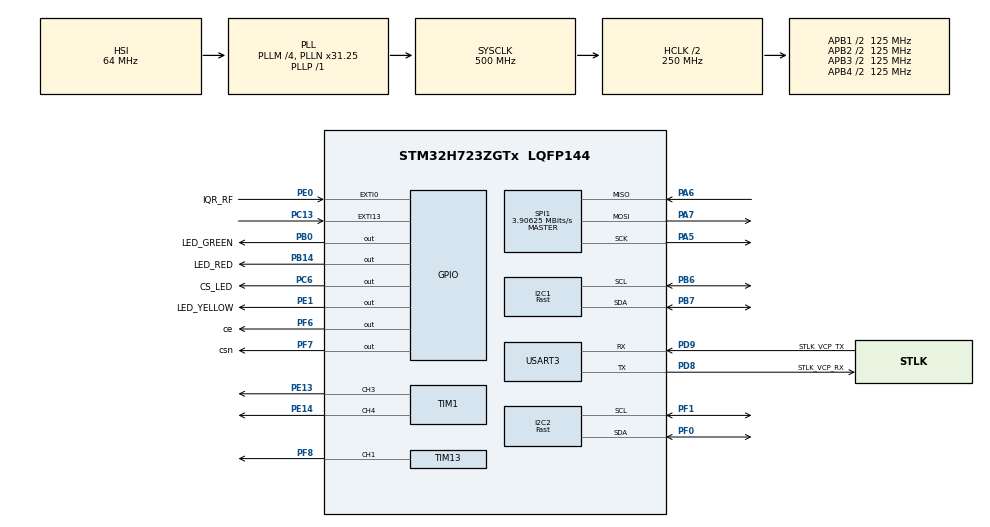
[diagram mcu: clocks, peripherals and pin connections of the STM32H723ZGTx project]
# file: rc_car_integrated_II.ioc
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CORTEX_M7.default_mode_Activation=1
Dma.Request0=USART3_RX
Dma.USART3_RX.0.Direction=DMA_PERIPH_TO_MEMORY
Dma.USART3_RX.0.EventEnable=DISABLE
Dma.USART3_RX.0.FIFOMode=DMA_FIFOMODE_DISABLE
Dma.USART3_RX.0.Instance=DMA1_Stream0
Dma.USART3_RX.0.MemDataAlignment=DMA_MDATAALIGN_BYTE
Dma.USART3_RX.0.MemInc=DMA_MINC_ENABLE
Dma.USART3_RX.0.Mode=DMA_NORMAL
Dma.USART3_RX.0.PeriphDataAlignment=DMA_PDATAALIGN_BYTE
Dma.USART3_RX.0.PeriphInc=DMA_PINC_DISABLE
Dma.USART3_RX.0.Polarity=HAL_DMAMUX_REQ_GEN_RISING
Dma.USART3_RX.0.Priority=DMA_PRIORITY_LOW
Dma.USART3_RX.0.RequestNumber=1
Dma.USART3_RX.0.SignalID=NONE
Dma.USART3_RX.0.SyncEnable=DISABLE
Dma.USART3_RX.0.SyncPolarity=HAL_DMAMUX_SYNC_NO_EVENT
Dma.USART3_RX.0.SyncRequestNumber=1
Dma.USART3_RX.0.SyncSignalID=NONE
I2C1.I2C_Speed_Mode=I2C_Fast
I2C1.Timing=0x00C042E4
I2C2.I2C_Speed_Mode=I2C_Fast
I2C2.Timing=0x00C042E4
Mcu.Family=STM32H7
Mcu.Name=STM32H723ZGTx
Mcu.Package=LQFP144
NVIC.DMA1_Stream0_IRQn=true\:0\:0\:false\:false\:true\:false\:true\:true
NVIC.PriorityGroup=NVIC_PRIORITYGROUP_4
NVIC.TIM3_IRQn=true\:0\:0\:true\:false\:true\:true\:true\:true
NVIC.USART3_IRQn=true\:0\:0\:false\:false\:true\:true\:true\:true
PA13(JTMS/SWDIO).GPIO_Label=SWDIO
PA13(JTMS/SWDIO).Signal=DEBUG_JTMS-SWDIO
PA14(JTCK/SWCLK).GPIO_Label=SWCLK
PA14(JTCK/SWCLK).Signal=DEBUG_JTCK-SWCLK
PA5.Mode=Full_Duplex_Master
PA5.Signal=SPI1_SCK
PA6.Mode=Full_Duplex_Master
PA6.Signal=SPI1_MISO
PA7.Mode=Full_Duplex_Master
PA7.Signal=SPI1_MOSI
PB0.GPIO_Label=LED_GREEN
PB0.Signal=GPIO_Output
PB14.GPIO_Label=LED_RED
PB14.Signal=GPIO_Output
PB6.Mode=I2C
PB6.Signal=I2C1_SCL
PB7.Mode=I2C
PB7.Signal=I2C1_SDA
PC13.Signal=GPXTI13
PC14-OSC32_IN.Signal=RCC_OSC32_IN
PC15-OSC32_OUT.Signal=RCC_OSC32_OUT
PC6.GPIO_Label=CS_LED
PC6.Signal=GPIO_Output
PD8.GPIO_Label=STLK_VCP_RX
PD8.Mode=Asynchronous
PD8.Signal=USART3_TX
PD9.GPIO_Label=STLK_VCP_TX
PD9.Mode=Asynchronous
PD9.Signal=USART3_RX
PE0.GPIO_Label=IQR_RF
PE0.Signal=GPXTI0
PE1.GPIO_Label=LED_YELLOW
PE1.Signal=GPIO_Output
PE13.Signal=S_TIM1_CH3
PE14.Signal=S_TIM1_CH4
PF0.Mode=I2C
PF0.Signal=I2C2_SDA
PF1.Mode=I2C
PF1.Signal=I2C2_SCL
PF6.GPIO_Label=ce
PF6.PinState=GPIO_PIN_SET
PF6.Signal=GPIO_Output
PF7.GPIO_Label=csn
PF7.PinState=GPIO_PIN_SET
PF7.Signal=GPIO_Output
PF8.Signal=S_TIM13_CH1
ProjectManager.HeapSize=0x200
ProjectManager.StackSize=0x400
ProjectManager.TargetToolchain=STM32CubeIDE
RCC.ADCFreq_Value=608000000
RCC.APB1Freq_Value=125000000
RCC.APB2Freq_Value=125000000
RCC.APB3Freq_Value=125000000
RCC.APB4Freq_Value=125000000
RCC.CortexFreq_Value=500000000
RCC.D1PPRE=RCC_APB3_DIV2
RCC.D2PPRE1=RCC_APB1_DIV2
RCC.D2PPRE2=RCC_APB2_DIV2
RCC.D3PPRE=RCC_APB4_DIV2
RCC.DIVM1=4
RCC.DIVM2=1
RCC.DIVN1=31
RCC.DIVN2=19
RCC.DIVP1=1
RCC.DIVQ1=4
RCC.HCLKFreq_Value=250000000
RCC.HPRE=RCC_HCLK_DIV2
RCC.HSE_VALUE=8000000
RCC.PLLFRACN=2048
RCC.SYSCLKFreq_VALUE=500000000
RCC.SYSCLKSource=RCC_SYSCLKSOURCE_PLLCLK
RCC.USBCLockSelection=RCC_USBCLKSOURCE_HSI48
RCC.USBFreq_Value=48000000
SH.S_TIM13_CH1.0=TIM13_CH1,PWM Generation1 CH1
SH.S_TIM1_CH3.0=TIM1_CH3,PWM Generation3 CH3
SH.S_TIM1_CH4.0=TIM1_CH4,PWM Generation4 CH4
SPI1.BaudRatePrescaler=SPI_BAUDRATEPRESCALER_32
SPI1.CalculateBaudRate=3.90625 MBits/s
SPI1.DataSize=SPI_DATASIZE_8BIT
SPI1.Direction=SPI_DIRECTION_2LINES
SPI1.Mode=SPI_MODE_MASTER
SPI1.VirtualType=VM_MASTER
TIM1.Channel-PWM\ Generation3\ CH3=TIM_CHANNEL_3
TIM1.Channel-PWM\ Generation4\ CH4=TIM_CHANNEL_4
TIM13.Channel=TIM_CHANNEL_1
TIM13.Period=62499-1
TIM13.Prescaler=5000-1
TIM24.Prescaler=25-1
TIM3.Prescaler=250-1
USART3.VirtualMode-Asynchronous=VM_ASYNC
VP_MEMORYMAP_VS_MEMORYMAP.Mode=CurAppReg
VP_TIM13_VS_ClockSourceINT.Mode=Enable_Timer
VP_TIM1_VS_ClockSourceINT.Mode=Internal
VP_TIM24_VS_ClockSourceINT.Mode=Internal
VP_TIM3_VS_ClockSourceINT.Mode=Internal
board=NUCLEO-H723ZG

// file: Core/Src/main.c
/* USER CODE BEGIN Header */
/**
  ******************************************************************************
  * @file           : main.c
  * @brief          : Main program body
  ******************************************************************************
  * @attention
  *
  * Copyright (c) 2025 STMicroelectronics.
  * All rights reserved.
  *
  * This software is licensed under terms that can be found in the LICENSE file
  * in the root directory of this software component.
  * If no LICENSE file comes with this software, it is provided AS-IS.
  *
  ******************************************************************************
  */
/* USER CODE END Header */
#include "main.h"

/* USER CODE BEGIN Includes */
#include <stdint.h>
#include <stdio.h>
#include <string.h>
#include <ctype.h>
#include <stdlib.h>
#include "GarminLidarLiteV3.h"
#include "LIS3DH.h"
#include "stm32h7xx_hal.h"
#include "delay.h" // Include delay.h for delay functions
#include "commandReader.h"
#include "NRF24_conf.h"
#include "NRF24_reg_addresses.h"
#include "NRF24.h"
#include "ledAdapter.h"

/* USER CODE END Includes */

/* USER CODE BEGIN PD */
#define UART_DMA_RX_SIZE 32
#define PLD_S 32

/* USER CODE END PD */

I2C_HandleTypeDef hi2c1;
I2C_HandleTypeDef hi2c2;

SPI_HandleTypeDef hspi1;

TIM_HandleTypeDef htim1;
TIM_HandleTypeDef htim3;
TIM_HandleTypeDef htim13;
TIM_HandleTypeDef htim24;

UART_HandleTypeDef huart3;
DMA_HandleTypeDef hdma_usart3_rx;

/* USER CODE BEGIN PV */
///////////////////// State Machines  ////////////////////////////////////////////////////////
typedef enum
{
	WAIT_STATE,
	FORWARD_STATE,
	BACKWARD_STATE,
	BRAKE_STATE,
	COAST_STATE,
	STEER_STATE,
	GET_SENSOR_DATA_STATE,
	SET_PID_STATE,
	STATE_MICRO_DELAY_TEST,
	STATE_DATA_ACQUISITION,
	CHANGE_RX_STATE,
	CHANGE_TX_STATE,
	RX_STATE,
	TX_STATE,
	STATE_FORCE_STOP,
	STATE_ACCEL_CALIBRATION

} StateType;
StateType currentState = WAIT_STATE;
StateType nextState = WAIT_STATE;
StateType currentCommState = RX_STATE; // This state machine is to determine whether the system is in receiving mode or transmitting mode, which will determine the behavior of the main loop and the actions to perform when receiving commands or getting sensor data.

///////////////////// Structures To use as Global Variables   ////////////////////////////////////////////////////////

struct DataToTransmit
{
   // Disregarding the cmd, all the variables byte size should add up to 18-20bytes
	uint8_t cmd[PLD_S]; // Will grab all the structure variables compress to string and transmit through NRF24L01
	int32_t a_x; // Store the acceleration in x-axis
    int32_t a_y; // Store the acceleration in y-axis
    int32_t a_z; // Store the acceleration in z-axis
    int32_t ax_cal_avg; // The average acceleration to offset the bias in x-axis
    int32_t ay_cal_avg; // The average acceleration to offset the bias in y-axis
    int32_t az_cal_avg; // The average acceleration to offset the bias in z-axis
    uint16_t distance_cm; // Store the distance measurement in centimeters
    char stationaryFlag;  // This is Flag to indicate back to the transmitter whether there is a stationary object when the car is accelerating.
    uint32_t timestamp; // in milliseconds
    uint8_t transmitFlag; // This flag is used to indicate whether the data is ready to be transmitted, which will be set after getting the sensor data and will trigger the transmission in the main loop when in TX_STATE.

};

struct DataToReceive
{
	// Disregarding the cmd, all the variables byte size should add up to 14-16bytes
	uint8_t cmd[PLD_S]; // The command is received as a string and will be parsed to determine the action and parameters to store
	// under the DataToReceive structure.
	int32_t pwm_value; // Temporarily will use pwm value, for testing the car until the speed can be determined after figure out the actual speed of the RC car.
	int16_t setSpeed; // Will grab the speed value received from the command and store it here, which will be used to set the PWM duty cycle for motor control.
	int16_t Pset; // PID proportional gain
	int16_t Iset; // PID integral gain
	int16_t Dset; // PID derivative gain
	int32_t sampleTime; // Sampling time for the PID controller, which will determine how often the control loop runs and updates the motor commands based on the sensor feedback.
	int32_t pwm_steer;
};

struct TimeTracking
{
	uint32_t seconds_counter; // This will keep track of the total elapsed time in seconds since the system started, which can be useful for timestamping data and events.
	uint32_t set_timer_period; // This variable will store the timer period in ticks, which is used to configure the timer interrupt frequency for tasks like sensor reading and control loop execution.
	uint32_t stamped_time; // This variable will store the timestamp of the last sensor reading or control loop execution, which can be used to calculate elapsed time and ensure consistent timing for the control algorithm.
	uint32_t milliAdder; // This variable will add a certain number of milliseconds to the stamped_time to determine when the next sensor reading or control loop execution should occur, allowing for precise timing control in the system.
	uint32_t timeAccumulator; // This variable will accumulate the elapsed time in milliseconds.
};

struct DataTxBuffer
{
    uint8_t data[1000][32];
};

///////////////////// Variable Declarations  ////////////////////////////////////////////////////////

////// UART Declarations  //////////////////////////////////////
/// will not be used unless there is some troubleshooting needed.
// For UART message processing
char uart_current_msg[UART_DMA_RX_SIZE];
// UART DMA Buffer
uint8_t UART3_rxBuffer[UART_DMA_RX_SIZE]; // DMA buffer

////// Time Tracking Declarations  //////////////////////////////////////
struct TimeTracking Tset =
{
    .seconds_counter = 0,
    .set_timer_period = 12500,
	.stamped_time = 0,
	.milliAdder = 0,
	.timeAccumulator = 0
};
// Rate of ticks is 1MHz with prescalar of 100 (assuming 100MHz clock)
// 1ticks = 1us

//////  LIDAR Declarations  //////////////////////////////////////
// Sensitivity level
volatile uint8_t sensitivity_level = 100;
volatile uint8_t acq_cmd_param = TAKE_DISTANCE_MEASUREMENT_WITH_BIAS_CORRECTION;

//////  Commands Declarations  //////////////////////////////////////
// In the main.h file I made the Transmit structure extern so I can access it in the other files, and here in the main.c file I define it.
DataToTransmit Transmit = {0}; // Not struct DataToTransmit  // This initializes all members to 0.
struct DataToReceive Receive = {0};    // This initializes all members to 0
struct DataTxBuffer TxData = {0}; // This initializes all members to 0

//////  NRF24L01 Declarations  //////////////////////////////////////
uint8_t tx_addr[5] = {0x45, 0x55, 0x67, 0x10, 0x21};

volatile int pwm_value = 0;
volatile uint8_t cal_sample_flag = 0;

/* USER CODE END PV */

void SystemClock_Config(void);
//static void MPU_Config(void);
static void MX_GPIO_Init(void);
static void MX_DMA_Init(void);
static void MX_SPI1_Init(void);
static void MX_TIM1_Init(void);
static void MX_TIM24_Init(void);
static void MX_USART3_UART_Init(void);
static void MX_I2C1_Init(void);
static void MX_I2C2_Init(void);
static void MX_TIM3_Init(void);
static void MX_TIM13_Init(void);
/* USER CODE BEGIN PFP */
void nrf24_setup(void);

static void formatAccelPrint(uint32_t timestamp, int32_t ax, int32_t ay, int32_t az);
static void formatAccelPacket(uint32_t timestamp, int32_t ax, int32_t ay, int32_t az);

static void formatSensorPrint(uint32_t timestamp, uint16_t dist, int32_t ax, int32_t ay, int32_t az);
static void formatSensorPacket(uint32_t timestamp, uint16_t dist, int32_t ax, int32_t ay, int32_t az);

/* USER CODE END PFP */

int main(void)
{

  /* MPU Configuration--------------------------------------------------------*/
//  MPU_Config();

  /* MCU Configuration--------------------------------------------------------*/

  /* Reset of all peripherals, Initializes the Flash interface and the Systick. */
  HAL_Init();

  /* Configure the system clock */
  SystemClock_Config();

  /* Initialize all configured peripherals */
  MX_GPIO_Init();
  MX_DMA_Init();
  MX_SPI1_Init();
  MX_TIM1_Init();
  MX_TIM24_Init();
  MX_USART3_UART_Init();
  MX_I2C1_Init();
  MX_I2C2_Init();
  MX_TIM3_Init();
  MX_TIM13_Init();
  /* USER CODE BEGIN 2 */
  lis3dh_init();
  GarLiteV3_Init();

  HAL_TIM_Base_Start(&htim24);  // ← START TIM24 for delay_us()

  // Initialized NRF24L01
  nrf24_setup();
  nrf24_listen();

  // Start TIM3 with interrupt to toggle TX/RX mode of the NRF24L01 every 10ms
  HAL_TIM_Base_Start_IT(&htim3);
  // Use absolute compare (tick) values directly instead of percentage
  // These are timer ticks (must be <= htim1.Init.Period)
  uint32_t pulse_ch3 = 20000U; // channel 1
  uint32_t pulse_ch4 = 20000U; // channel

  // The tick set up to turn the servo motor.
  // 1ms= 1000us = 1000 ticks, 1.5ms = 75 ticks, 2ms = 2000 ticks.
  uint32_t pulseServoMotor = 75U; // This is for the servo motor control, which will be used to control the steering of the RC car. The value can be adjusted based on the desired steering angle and the characteristics of the servo motor being used. For example, a value of 12500 ticks might correspond to a 90-degree turn, while values lower or higher than that would correspond to turns in the opposite direction or sharper turns, respectively. The exact mapping between pulse width and steering angle would need to be determined experimentally based on the specific servo motor and its response characteristics.
  Receive.pwm_steer = pulseServoMotor; // Initialize the pwm_steer variable in the Receive structure with 50% duty cycle.

  char ReceiveCmd[PLD_S];
  uint8_t stopState = 0; // This variable is used to determine whether the car should stop after executing a command, which will be set based on the received command and will influence the behavior of the main loop in terms of whether to return to WAIT_STATE or stay in the current state after executing a motor action.
  int k = 0; // increment counter for data acquisition

  // Set up time Adder for timestamping and timing control
  Tset.milliAdder = Tset.set_timer_period * 2 / 1000;

  /* Sanity checks: ensure values do not exceed ARR (which is htim1.Init.Period) */
  if (pulse_ch3 > (uint32_t)htim1.Init.Period)
  {
    Error_Handler();
  }
  if (pulse_ch4 > (uint32_t)htim1.Init.Period)
  {
    Error_Handler();
  }
  if (pulseServoMotor > (uint32_t)htim13.Init.Period)
  {
    Error_Handler();
  }

  /* Start PWM channels */
  if (HAL_TIM_PWM_Start(&htim1, TIM_CHANNEL_3) != HAL_OK)
  {
    Error_Handler();
  }
  if (HAL_TIM_PWM_Start(&htim1, TIM_CHANNEL_4) != HAL_OK)
  {
    Error_Handler();
  }
  if (HAL_TIM_PWM_Start(&htim13, TIM_CHANNEL_1) != HAL_OK)
  {
    Error_Handler();
  }

  // Initially set the PWM for the steering to the center by place 50 in it
  // This is for steering control using the servo motor.

  __HAL_TIM_SET_COMPARE(&htim13, TIM_CHANNEL_1, Receive.pwm_steer);

  /* USER CODE END 2 */

  /* Infinite loop */
  while (1)
  {

    /* USER CODE BEGIN 3 */

      switch (currentState)
      {
          case WAIT_STATE:
              // Idle — do nothing until timer ISR triggers a comm state change
              break;

          // ============ COMM STATE TRANSITIONS ============

          case CHANGE_RX_STATE:
              // LED indicators: YELLOW on = RX mode
              HAL_GPIO_WritePin(LED_YELLOW_GPIO_Port, LED_YELLOW_Pin, GPIO_PIN_SET);
              HAL_GPIO_WritePin(LED_GREEN_GPIO_Port, LED_GREEN_Pin, GPIO_PIN_RESET);
              nrf24_listen();
              currentCommState = TX_STATE;
              currentState = RX_STATE;
              break;

          case RX_STATE:
              // Stay here polling for data until the timer ISR sets CHANGE_TX_STATE
              if (nrf24_data_available())
              {
                  stopState = 0; // Clear the stopState flag when new data is received
            	  nrf24_receive(Receive.cmd, sizeof(Receive.cmd));
                  nrf24_clear_rx_dr();
                  strncpy(ReceiveCmd, (char *)Receive.cmd, PLD_S - 1);
                  ReceiveCmd[PLD_S - 1] = '\0';

                  char cmd_str[32] = {0};
                  char pwm_str[8] = {0};
                  char steer_pwm_str[8] = {0};
                  uint8_t comma_index = 0;
                  parse_uart_command(ReceiveCmd, cmd_str, &comma_index);

                  if (strcmp(cmd_str, "F") == 0)
                  {
                      uint8_t index = comma_index;
                      parse_uart_value(ReceiveCmd, pwm_str, &index);
                      Receive.pwm_value = (uint16_t)atoi(pwm_str);
                      nextState = FORWARD_STATE;
                  }
                  else if (strcmp(cmd_str, "R") == 0)
                  {
                      uint8_t index = comma_index;
                      parse_uart_value(ReceiveCmd, pwm_str, &index);
                      Receive.pwm_value = (uint16_t)atoi(pwm_str);
                      nextState = BACKWARD_STATE;
                  }
                  else if (strcmp(cmd_str, "B") == 0)
                  {
                      Receive.pwm_value = 25000;
                      nextState = BRAKE_STATE;
                  }
                  else if (strcmp(cmd_str, "C") == 0)
                  {
                      nextState = COAST_STATE;
                  }
                  else if (strcmp(cmd_str, "S") == 0)
				  {
                	  // This is to steer the servo motor. I tested the servo motor that was prebuilt on the RC car.
                	  // The frequency for PWM control is 50Hz and the steering wheel is at the center when duty cycle is 50%.
                      uint8_t index = comma_index;
                      parse_uart_value(ReceiveCmd, steer_pwm_str, &index);
                      Receive.pwm_steer = (uint16_t)atoi(steer_pwm_str);
                      nextState = STEER_STATE;

				  }
                  else if (strcmp(cmd_str, "PID") == 0)
                  {
                      uint8_t index = comma_index;
                      char P_str[8] = {0}, I_str[8] = {0}, D_str[8] = {0};
                      parse_uart_value(ReceiveCmd, P_str, &index);
                      Receive.Pset = (uint16_t)atoi(P_str);
                      parse_uart_value(ReceiveCmd, I_str, &index);
                      Receive.Iset = (uint16_t)atoi(I_str);
                      parse_uart_value(ReceiveCmd, D_str, &index);
                      Receive.Dset = (uint16_t)atoi(D_str);
                      nextState = SET_PID_STATE;
                  }
                  else if (strcmp(cmd_str, "CAL") == 0)
            	  {
                	  // Only the Python GUI Calibration Window  will jump to this state.
                	  // 2s worth of acceleration data will be measure so it can be measure and calibrate the offset of accelerometer data.
                	  // A manual calibration that was tested showed, that finding the average offset help reduce drifting for the velocity calculation.
                	  Tset.stamped_time = 0; // Reset the timestamp when starting calibration
                	  nextState = STATE_ACCEL_CALIBRATION;
               	  }
                  else if (strcmp(cmd_str, "STOP_CAL") == 0)
            	  {
                	  // Stop Calibration.
                	  stopState = 1;
                	  nextState = WAIT_STATE; // After stopping calibration, switch back to wait state
               	  }

              }

              break;

          case CHANGE_TX_STATE:
              // LED indicators: GREEN on = TX mode
//        	  will work on making the comm mode transisition. This is for a git example
              HAL_GPIO_WritePin(LED_GREEN_GPIO_Port, LED_GREEN_Pin, GPIO_PIN_SET);
              HAL_GPIO_WritePin(LED_YELLOW_GPIO_Port, LED_YELLOW_Pin, GPIO_PIN_RESET);
              nrf24_stop_listen();
              currentCommState = RX_STATE;
              currentState = TX_STATE;
              break;

          case TX_STATE:
              // Execute the pending action command (motor), then transmit sensor data
              if (nextState != WAIT_STATE)
              {
            	  // Collect data and transmit in get sensor state
                  currentState = GET_SENSOR_DATA_STATE;
              }
              else
              {
            	  stopState = 1;
              }
              break;

          // ============ SENSOR DATA + TRANSMIT ============

          case GET_SENSOR_DATA_STATE:
        	  if (stopState == 0)
        	  {
        		  memset(Transmit.cmd, 0, PLD_S); // Clear the buffer
        		  measure_XYZ_Acceleration(&Transmit.a_x, &Transmit.a_y, &Transmit.a_z);
        		  simple_measurement(&Transmit.distance_cm, 0);
        		  Tset.stamped_time += Tset.milliAdder;
//        		  formatSensorPrint(Tset.stamped_time, Transmit.distance_cm, Transmit.a_x, Transmit.a_y, Transmit.a_z);
        		  formatSensorPacket(Tset.stamped_time, Transmit.distance_cm, Transmit.a_x, Transmit.a_y, Transmit.a_z);

        		  nrf24_transmit(Transmit.cmd, PLD_S);
        		  // The data acquisition state to confirm which was attempted to be transmited
//        		  currentState = STATE_DATA_ACQUISITION;
        		  currentState = nextState; // After getting the sensor data and transmitting, switch to the next state which is the motor action state to execute the received command, and then will switch back to wait state after executing the motor command based on the stopState flag.
        		  break;

        	  }

              // jump to accel calibration state
              currentState = nextState;

              break;

          case STATE_ACCEL_CALIBRATION:
			  // This state is for calibrating the accelerometer data by finding the average offset when the car is stationary, which can help reduce drifting in velocity calculation.
			  // The calibration will run until it receives the "STOP_CAL" command, which will set the stopState flag to 1 and switch back to wait state.
			  if (stopState == 1)
			  {
				  // Exit calibration state
				  currentState = COAST_STATE;
				  nextState = WAIT_STATE; // After stopping calibration, switch back to wait state
				  break;
			  }
			    if (cal_sample_flag == 0)
			        break; // Wait for TIM3 to fire

			  cal_sample_flag = 0; // Clear flag immediately
			  // Collect accelerometer data for calibration
			  memset(Transmit.cmd, 0, PLD_S); // Clear the buffer
			  measure_XYZ_Acceleration(&Transmit.a_x, &Transmit.a_y, &Transmit.a_z);
			  Tset.stamped_time += Tset.milliAdder/2;
			  // Format the data to packet so it can be formated and transmitted
//			  formatAccelPrint(Tset.stamped_time, Transmit.a_x, Transmit.a_y, Transmit.a_z);
			  formatAccelPacket(Tset.stamped_time, Transmit.a_x, Transmit.a_y, Transmit.a_z);
			  // send the data.
			  nrf24_transmit(Transmit.cmd, PLD_S);
			  break;

    	  case STATE_DATA_ACQUISITION:
    		  // This state is for testing the data acquisition from the RC car.
    		  // Once the data is received, it will get stored in the CmRxBuffer so by the time it receives
    		  // 1000 data points it will stop and go back to the wait state and will also debug to check.
    		  // Store the receive data in the buffer.
    		  if (k < 1000 && Transmit.transmitFlag == 1) // Only store data if we haven't reached 1000 data points and the stopState flag is not set
    		  {
    			  Transmit.transmitFlag = 0; // Reset the flag to indicate that data is getting stored in the buffer.
    			  memcpy(TxData.data[k], Transmit.cmd, PLD_S);
    			  k++;
    			  currentState = nextState; // Stay in receive state to continue receiving data until we have 1000 data points tored in the buffer
    		  }
    		  else if (k == 1000)
			  {
				  currentState = STATE_FORCE_STOP; // After storing 1000 data points, switch to force stop state to send the stop command to the RC car, which will trigger the RC car to stop and prevent any further data transmission from the RC car, ensuring that we only have 1000 data points stored in the buffer for analysis.
			  }
    		  else
    		  {
    		  	currentState = nextState; // After storing 1000 data points, switch back to wait state
    		  }

    		  break;

          // ============ MOTOR ACTIONS ============

          case FORWARD_STATE:
              __HAL_TIM_SET_COMPARE(&htim1, TIM_CHANNEL_3, Receive.pwm_value);
              __HAL_TIM_SET_COMPARE(&htim1, TIM_CHANNEL_4, 0);
              break;

          case BACKWARD_STATE:
              __HAL_TIM_SET_COMPARE(&htim1, TIM_CHANNEL_3, 0);
              __HAL_TIM_SET_COMPARE(&htim1, TIM_CHANNEL_4, Receive.pwm_value);
              break;

          case BRAKE_STATE:
              __HAL_TIM_SET_COMPARE(&htim1, TIM_CHANNEL_3, Receive.pwm_value);
              __HAL_TIM_SET_COMPARE(&htim1, TIM_CHANNEL_4, Receive.pwm_value);
              break;

          case COAST_STATE:
              __HAL_TIM_SET_COMPARE(&htim1, TIM_CHANNEL_3, 0);
              __HAL_TIM_SET_COMPARE(&htim1, TIM_CHANNEL_4, 0);
              stopState = 1; // Set the stopState flag to indicate that the car should stop after coasting
              currentState = WAIT_STATE;
              break;

          case STATE_FORCE_STOP:
			  __HAL_TIM_SET_COMPARE(&htim1, TIM_CHANNEL_3, 0);
			  __HAL_TIM_SET_COMPARE(&htim1, TIM_CHANNEL_4, 0);
			  stopState = 1; // Set the stopState flag to indicate that the car should stop after executing the force stop command
			  currentState = WAIT_STATE;
			  break;

          case STEER_STATE:
			  // This is for steering control using the servo motor.
        	  __HAL_TIM_SET_COMPARE(&htim13, TIM_CHANNEL_1, Receive.pwm_steer);
//        	  currentState = WAIT_STATE;
			  break;

          case SET_PID_STATE:
              // PID setup — placeholder
              currentState = CHANGE_RX_STATE;
              break;

          default:
              Error_Handler();
              break;
      }
  }
  /* USER CODE END 3 */
}

void SystemClock_Config(void)
{
  RCC_OscInitTypeDef RCC_OscInitStruct = {0};
  RCC_ClkInitTypeDef RCC_ClkInitStruct = {0};

  /** Supply configuration update enable
  */
  HAL_PWREx_ConfigSupply(PWR_LDO_SUPPLY);

  /** Configure the main internal regulator output voltage
  */
  __HAL_PWR_VOLTAGESCALING_CONFIG(PWR_REGULATOR_VOLTAGE_SCALE0);

  while(!__HAL_PWR_GET_FLAG(PWR_FLAG_VOSRDY)) {}

  /** Initializes the RCC Oscillators according to the specified parameters
  * in the RCC_OscInitTypeDef structure.
  */
  RCC_OscInitStruct.OscillatorType = RCC_OSCILLATORTYPE_HSI;
  RCC_OscInitStruct.HSIState = RCC_HSI_DIV1;
  RCC_OscInitStruct.HSICalibrationValue = 64;
  RCC_OscInitStruct.PLL.PLLState = RCC_PLL_ON;
  RCC_OscInitStruct.PLL.PLLSource = RCC_PLLSOURCE_HSI;
  RCC_OscInitStruct.PLL.PLLM = 4;
  RCC_OscInitStruct.PLL.PLLN = 31;
  RCC_OscInitStruct.PLL.PLLP = 1;
  RCC_OscInitStruct.PLL.PLLQ = 4;
  RCC_OscInitStruct.PLL.PLLR = 2;
  RCC_OscInitStruct.PLL.PLLRGE = RCC_PLL1VCIRANGE_3;
  RCC_OscInitStruct.PLL.PLLVCOSEL = RCC_PLL1VCOWIDE;
  RCC_OscInitStruct.PLL.PLLFRACN = 2048;
  if (HAL_RCC_OscConfig(&RCC_OscInitStruct) != HAL_OK)
  {
    Error_Handler();
  }

  /** Initializes the CPU, AHB and APB buses clocks
  */
  RCC_ClkInitStruct.ClockType = RCC_CLOCKTYPE_HCLK|RCC_CLOCKTYPE_SYSCLK
                              |RCC_CLOCKTYPE_PCLK1|RCC_CLOCKTYPE_PCLK2
                              |RCC_CLOCKTYPE_D3PCLK1|RCC_CLOCKTYPE_D1PCLK1;
  RCC_ClkInitStruct.SYSCLKSource = RCC_SYSCLKSOURCE_PLLCLK;
  RCC_ClkInitStruct.SYSCLKDivider = RCC_SYSCLK_DIV1;
  RCC_ClkInitStruct.AHBCLKDivider = RCC_HCLK_DIV2;
  RCC_ClkInitStruct.APB3CLKDivider = RCC_APB3_DIV2;
  RCC_ClkInitStruct.APB1CLKDivider = RCC_APB1_DIV2;
  RCC_ClkInitStruct.APB2CLKDivider = RCC_APB2_DIV2;
  RCC_ClkInitStruct.APB4CLKDivider = RCC_APB4_DIV2;

  if (HAL_RCC_ClockConfig(&RCC_ClkInitStruct, FLASH_LATENCY_3) != HAL_OK)
  {
    Error_Handler();
  }
}

static void MX_I2C1_Init(void)
{

  hi2c1.Instance = I2C1;
  hi2c1.Init.Timing = 0x00C042E4;
  hi2c1.Init.OwnAddress1 = 0;
  hi2c1.Init.AddressingMode = I2C_ADDRESSINGMODE_7BIT;
  hi2c1.Init.DualAddressMode = I2C_DUALADDRESS_DISABLE;
  hi2c1.Init.OwnAddress2 = 0;
  hi2c1.Init.OwnAddress2Masks = I2C_OA2_NOMASK;
  hi2c1.Init.GeneralCallMode = I2C_GENERALCALL_DISABLE;
  hi2c1.Init.NoStretchMode = I2C_NOSTRETCH_DISABLE;
  if (HAL_I2C_Init(&hi2c1) != HAL_OK)
  {
    Error_Handler();
  }

  /** Configure Analogue filter
  */
  if (HAL_I2CEx_ConfigAnalogFilter(&hi2c1, I2C_ANALOGFILTER_ENABLE) != HAL_OK)
  {
    Error_Handler();
  }

  /** Configure Digital filter
  */
  if (HAL_I2CEx_ConfigDigitalFilter(&hi2c1, 0) != HAL_OK)
  {
    Error_Handler();
  }

}

static void MX_I2C2_Init(void)
{

  hi2c2.Instance = I2C2;
  hi2c2.Init.Timing = 0x00C042E4;
  hi2c2.Init.OwnAddress1 = 0;
  hi2c2.Init.AddressingMode = I2C_ADDRESSINGMODE_7BIT;
  hi2c2.Init.DualAddressMode = I2C_DUALADDRESS_DISABLE;
  hi2c2.Init.OwnAddress2 = 0;
  hi2c2.Init.OwnAddress2Masks = I2C_OA2_NOMASK;
  hi2c2.Init.GeneralCallMode = I2C_GENERALCALL_DISABLE;
  hi2c2.Init.NoStretchMode = I2C_NOSTRETCH_DISABLE;
  if (HAL_I2C_Init(&hi2c2) != HAL_OK)
  {
    Error_Handler();
  }

  /** Configure Analogue filter
  */
  if (HAL_I2CEx_ConfigAnalogFilter(&hi2c2, I2C_ANALOGFILTER_ENABLE) != HAL_OK)
  {
    Error_Handler();
  }

  /** Configure Digital filter
  */
  if (HAL_I2CEx_ConfigDigitalFilter(&hi2c2, 0) != HAL_OK)
  {
    Error_Handler();
  }

}

static void MX_SPI1_Init(void)
{

  /* SPI1 parameter configuration*/
  hspi1.Instance = SPI1;
  hspi1.Init.Mode = SPI_MODE_MASTER;
  hspi1.Init.Direction = SPI_DIRECTION_2LINES;
  hspi1.Init.DataSize = SPI_DATASIZE_8BIT;
  hspi1.Init.CLKPolarity = SPI_POLARITY_LOW;
  hspi1.Init.CLKPhase = SPI_PHASE_1EDGE;
  hspi1.Init.NSS = SPI_NSS_SOFT;
  hspi1.Init.BaudRatePrescaler = SPI_BAUDRATEPRESCALER_32;
  hspi1.Init.FirstBit = SPI_FIRSTBIT_MSB;
  hspi1.Init.TIMode = SPI_TIMODE_DISABLE;
  hspi1.Init.CRCCalculation = SPI_CRCCALCULATION_DISABLE;
  hspi1.Init.CRCPolynomial = 0x0;
  hspi1.Init.NSSPMode = SPI_NSS_PULSE_ENABLE;
  hspi1.Init.NSSPolarity = SPI_NSS_POLARITY_LOW;
  hspi1.Init.FifoThreshold = SPI_FIFO_THRESHOLD_01DATA;
  hspi1.Init.TxCRCInitializationPattern = SPI_CRC_INITIALIZATION_ALL_ZERO_PATTERN;
  hspi1.Init.RxCRCInitializationPattern = SPI_CRC_INITIALIZATION_ALL_ZERO_PATTERN;
  hspi1.Init.MasterSSIdleness = SPI_MASTER_SS_IDLENESS_00CYCLE;
  hspi1.Init.MasterInterDataIdleness = SPI_MASTER_INTERDATA_IDLENESS_00CYCLE;
  hspi1.Init.MasterReceiverAutoSusp = SPI_MASTER_RX_AUTOSUSP_DISABLE;
  hspi1.Init.MasterKeepIOState = SPI_MASTER_KEEP_IO_STATE_DISABLE;
  hspi1.Init.IOSwap = SPI_IO_SWAP_DISABLE;
  if (HAL_SPI_Init(&hspi1) != HAL_OK)
  {
    Error_Handler();
  }

}

static void MX_TIM1_Init(void)
{

  TIM_ClockConfigTypeDef sClockSourceConfig = {0};
  TIM_MasterConfigTypeDef sMasterConfig = {0};
  TIM_OC_InitTypeDef sConfigOC = {0};
  TIM_BreakDeadTimeConfigTypeDef sBreakDeadTimeConfig = {0};

  htim1.Instance = TIM1;
  htim1.Init.Prescaler = 0;
  htim1.Init.CounterMode = TIM_COUNTERMODE_UP;
  htim1.Init.Period = 65535;
  htim1.Init.ClockDivision = TIM_CLOCKDIVISION_DIV1;
  htim1.Init.RepetitionCounter = 0;
  htim1.Init.AutoReloadPreload = TIM_AUTORELOAD_PRELOAD_DISABLE;
  if (HAL_TIM_Base_Init(&htim1) != HAL_OK)
  {
    Error_Handler();
  }
  sClockSourceConfig.ClockSource = TIM_CLOCKSOURCE_INTERNAL;
  if (HAL_TIM_ConfigClockSource(&htim1, &sClockSourceConfig) != HAL_OK)
  {
    Error_Handler();
  }
  if (HAL_TIM_PWM_Init(&htim1) != HAL_OK)
  {
    Error_Handler();
  }
  sMasterConfig.MasterOutputTrigger = TIM_TRGO_RESET;
  sMasterConfig.MasterOutputTrigger2 = TIM_TRGO2_RESET;
  sMasterConfig.MasterSlaveMode = TIM_MASTERSLAVEMODE_DISABLE;
  if (HAL_TIMEx_MasterConfigSynchronization(&htim1, &sMasterConfig) != HAL_OK)
  {
    Error_Handler();
  }
  sConfigOC.OCMode = TIM_OCMODE_PWM1;
  sConfigOC.Pulse = 0;
  sConfigOC.OCPolarity = TIM_OCPOLARITY_HIGH;
  sConfigOC.OCNPolarity = TIM_OCNPOLARITY_HIGH;
  sConfigOC.OCFastMode = TIM_OCFAST_DISABLE;
  sConfigOC.OCIdleState = TIM_OCIDLESTATE_RESET;
  sConfigOC.OCNIdleState = TIM_OCNIDLESTATE_RESET;
  if (HAL_TIM_PWM_ConfigChannel(&htim1, &sConfigOC, TIM_CHANNEL_3) != HAL_OK)
  {
    Error_Handler();
  }
  if (HAL_TIM_PWM_ConfigChannel(&htim1, &sConfigOC, TIM_CHANNEL_4) != HAL_OK)
  {
    Error_Handler();
  }
  sBreakDeadTimeConfig.OffStateRunMode = TIM_OSSR_DISABLE;
  sBreakDeadTimeConfig.OffStateIDLEMode = TIM_OSSI_DISABLE;
  sBreakDeadTimeConfig.LockLevel = TIM_LOCKLEVEL_OFF;
  sBreakDeadTimeConfig.DeadTime = 0;
  sBreakDeadTimeConfig.BreakState = TIM_BREAK_DISABLE;
  sBreakDeadTimeConfig.BreakPolarity = TIM_BREAKPOLARITY_HIGH;
  sBreakDeadTimeConfig.BreakFilter = 0;
  sBreakDeadTimeConfig.Break2State = TIM_BREAK2_DISABLE;
  sBreakDeadTimeConfig.Break2Polarity = TIM_BREAK2POLARITY_HIGH;
  sBreakDeadTimeConfig.Break2Filter = 0;
  sBreakDeadTimeConfig.AutomaticOutput = TIM_AUTOMATICOUTPUT_DISABLE;
  if (HAL_TIMEx_ConfigBreakDeadTime(&htim1, &sBreakDeadTimeConfig) != HAL_OK)
  {
    Error_Handler();
  }
  HAL_TIM_MspPostInit(&htim1);

}

static void MX_TIM3_Init(void)
{

  TIM_ClockConfigTypeDef sClockSourceConfig = {0};
  TIM_MasterConfigTypeDef sMasterConfig = {0};

  htim3.Instance = TIM3;
  htim3.Init.Prescaler = 250-1;
  htim3.Init.CounterMode = TIM_COUNTERMODE_UP;
  htim3.Init.Period = Tset.set_timer_period - 1;
  htim3.Init.ClockDivision = TIM_CLOCKDIVISION_DIV1;
  htim3.Init.AutoReloadPreload = TIM_AUTORELOAD_PRELOAD_DISABLE;
  if (HAL_TIM_Base_Init(&htim3) != HAL_OK)
  {
    Error_Handler();
  }
  sClockSourceConfig.ClockSource = TIM_CLOCKSOURCE_INTERNAL;
  if (HAL_TIM_ConfigClockSource(&htim3, &sClockSourceConfig) != HAL_OK)
  {
    Error_Handler();
  }
  sMasterConfig.MasterOutputTrigger = TIM_TRGO_RESET;
  sMasterConfig.MasterSlaveMode = TIM_MASTERSLAVEMODE_DISABLE;
  if (HAL_TIMEx_MasterConfigSynchronization(&htim3, &sMasterConfig) != HAL_OK)
  {
    Error_Handler();
  }
  /* USER CODE BEGIN TIM3_Init 2 */
//  htim3.Init.Period = Tset.set_timer_period-1;
  /* USER CODE END TIM3_Init 2 */

}

static void MX_TIM13_Init(void)
{

  TIM_OC_InitTypeDef sConfigOC = {0};

  htim13.Instance = TIM13;
  htim13.Init.Prescaler = 5000-1;
  htim13.Init.CounterMode = TIM_COUNTERMODE_UP;
  htim13.Init.Period = 1000-1;
  htim13.Init.ClockDivision = TIM_CLOCKDIVISION_DIV1;
  htim13.Init.AutoReloadPreload = TIM_AUTORELOAD_PRELOAD_DISABLE;
  if (HAL_TIM_Base_Init(&htim13) != HAL_OK)
  {
    Error_Handler();
  }
  if (HAL_TIM_PWM_Init(&htim13) != HAL_OK)
  {
    Error_Handler();
  }
  sConfigOC.OCMode = TIM_OCMODE_PWM1;
  sConfigOC.Pulse = 0;
  sConfigOC.OCPolarity = TIM_OCPOLARITY_HIGH;
  sConfigOC.OCFastMode = TIM_OCFAST_DISABLE;
  if (HAL_TIM_PWM_ConfigChannel(&htim13, &sConfigOC, TIM_CHANNEL_1) != HAL_OK)
  {
    Error_Handler();
  }
  HAL_TIM_MspPostInit(&htim13);

}

static void MX_TIM24_Init(void)
{

  TIM_ClockConfigTypeDef sClockSourceConfig = {0};
  TIM_MasterConfigTypeDef sMasterConfig = {0};

  htim24.Instance = TIM24;
  htim24.Init.Prescaler = 25-1;
  htim24.Init.CounterMode = TIM_COUNTERMODE_UP;
  htim24.Init.Period = 4294967295;
  htim24.Init.ClockDivision = TIM_CLOCKDIVISION_DIV1;
  htim24.Init.AutoReloadPreload = TIM_AUTORELOAD_PRELOAD_DISABLE;
  if (HAL_TIM_Base_Init(&htim24) != HAL_OK)
  {
    Error_Handler();
  }
  sClockSourceConfig.ClockSource = TIM_CLOCKSOURCE_INTERNAL;
  if (HAL_TIM_ConfigClockSource(&htim24, &sClockSourceConfig) != HAL_OK)
  {
    Error_Handler();
  }
  sMasterConfig.MasterOutputTrigger = TIM_TRGO_RESET;
  sMasterConfig.MasterSlaveMode = TIM_MASTERSLAVEMODE_DISABLE;
  if (HAL_TIMEx_MasterConfigSynchronization(&htim24, &sMasterConfig) != HAL_OK)
  {
    Error_Handler();
  }

}

static void MX_USART3_UART_Init(void)
{

  huart3.Instance = USART3;
  huart3.Init.BaudRate = 115200;
  huart3.Init.WordLength = UART_WORDLENGTH_8B;
  huart3.Init.StopBits = UART_STOPBITS_1;
  huart3.Init.Parity = UART_PARITY_NONE;
  huart3.Init.Mode = UART_MODE_TX_RX;
  huart3.Init.HwFlowCtl = UART_HWCONTROL_NONE;
  huart3.Init.OverSampling = UART_OVERSAMPLING_16;
  huart3.Init.OneBitSampling = UART_ONE_BIT_SAMPLE_DISABLE;
  huart3.Init.ClockPrescaler = UART_PRESCALER_DIV1;
  huart3.AdvancedInit.AdvFeatureInit = UART_ADVFEATURE_NO_INIT;
  if (HAL_UART_Init(&huart3) != HAL_OK)
  {
    Error_Handler();
  }
  if (HAL_UARTEx_SetTxFifoThreshold(&huart3, UART_TXFIFO_THRESHOLD_1_8) != HAL_OK)
  {
    Error_Handler();
  }
  if (HAL_UARTEx_SetRxFifoThreshold(&huart3, UART_RXFIFO_THRESHOLD_1_8) != HAL_OK)
  {
    Error_Handler();
  }
  if (HAL_UARTEx_DisableFifoMode(&huart3) != HAL_OK)
  {
    Error_Handler();
  }

}

static void MX_DMA_Init(void)
{

  /* DMA controller clock enable */
  __HAL_RCC_DMA1_CLK_ENABLE();

  /* DMA interrupt init */
  /* DMA1_Stream0_IRQn interrupt configuration */
  HAL_NVIC_SetPriority(DMA1_Stream0_IRQn, 0, 0);
  HAL_NVIC_EnableIRQ(DMA1_Stream0_IRQn);

}

static void MX_GPIO_Init(void)
{
  GPIO_InitTypeDef GPIO_InitStruct = {0};

  /* GPIO Ports Clock Enable */
  __HAL_RCC_GPIOC_CLK_ENABLE();
  __HAL_RCC_GPIOF_CLK_ENABLE();
  __HAL_RCC_GPIOA_CLK_ENABLE();
  __HAL_RCC_GPIOB_CLK_ENABLE();
  __HAL_RCC_GPIOE_CLK_ENABLE();
  __HAL_RCC_GPIOD_CLK_ENABLE();

  /*Configure GPIO pin Output Level */
  HAL_GPIO_WritePin(GPIOF, ce_Pin|csn_Pin, GPIO_PIN_SET);

  /*Configure GPIO pin Output Level */
  HAL_GPIO_WritePin(GPIOB, LED_GREEN_Pin|LED_RED_Pin, GPIO_PIN_RESET);

  /*Configure GPIO pin Output Level */
  HAL_GPIO_WritePin(CS_LED_GPIO_Port, CS_LED_Pin, GPIO_PIN_RESET);

  /*Configure GPIO pin Output Level */
  HAL_GPIO_WritePin(LED_YELLOW_GPIO_Port, LED_YELLOW_Pin, GPIO_PIN_RESET);

  /*Configure GPIO pin : PC13 */
  GPIO_InitStruct.Pin = GPIO_PIN_13;
  GPIO_InitStruct.Mode = GPIO_MODE_IT_RISING;
  GPIO_InitStruct.Pull = GPIO_NOPULL;
  HAL_GPIO_Init(GPIOC, &GPIO_InitStruct);

  /*Configure GPIO pins : ce_Pin csn_Pin */
  GPIO_InitStruct.Pin = ce_Pin|csn_Pin;
  GPIO_InitStruct.Mode = GPIO_MODE_OUTPUT_PP;
  GPIO_InitStruct.Pull = GPIO_NOPULL;
  GPIO_InitStruct.Speed = GPIO_SPEED_FREQ_LOW;
  HAL_GPIO_Init(GPIOF, &GPIO_InitStruct);

  /*Configure GPIO pins : LED_GREEN_Pin LED_RED_Pin */
  GPIO_InitStruct.Pin = LED_GREEN_Pin|LED_RED_Pin;
  GPIO_InitStruct.Mode = GPIO_MODE_OUTPUT_PP;
  GPIO_InitStruct.Pull = GPIO_NOPULL;
  GPIO_InitStruct.Speed = GPIO_SPEED_FREQ_LOW;
  HAL_GPIO_Init(GPIOB, &GPIO_InitStruct);

  /*Configure GPIO pin : CS_LED_Pin */
  GPIO_InitStruct.Pin = CS_LED_Pin;
  GPIO_InitStruct.Mode = GPIO_MODE_OUTPUT_PP;
  GPIO_InitStruct.Pull = GPIO_NOPULL;
  GPIO_InitStruct.Speed = GPIO_SPEED_FREQ_LOW;
  HAL_GPIO_Init(CS_LED_GPIO_Port, &GPIO_InitStruct);

  /*Configure GPIO pin : IQR_RF_Pin */
  GPIO_InitStruct.Pin = IQR_RF_Pin;
  GPIO_InitStruct.Mode = GPIO_MODE_IT_RISING;
  GPIO_InitStruct.Pull = GPIO_NOPULL;
  HAL_GPIO_Init(IQR_RF_GPIO_Port, &GPIO_InitStruct);

  /*Configure GPIO pin : LED_YELLOW_Pin */
  GPIO_InitStruct.Pin = LED_YELLOW_Pin;
  GPIO_InitStruct.Mode = GPIO_MODE_OUTPUT_PP;
  GPIO_InitStruct.Pull = GPIO_NOPULL;
  GPIO_InitStruct.Speed = GPIO_SPEED_FREQ_LOW;
  HAL_GPIO_Init(LED_YELLOW_GPIO_Port, &GPIO_InitStruct);

}

/* USER CODE BEGIN 4 */

// Timer interrupt callback
void HAL_TIM_PeriodElapsedCallback(TIM_HandleTypeDef *htim)
{
    if (htim->Instance == TIM3)
    {
        if (currentState == STATE_ACCEL_CALIBRATION)
        {
            cal_sample_flag = 1; // signal calibration to take a sample
        }

        // Always toggle comm state so the radio can receive STOP_CAL
        if (currentCommState == RX_STATE)
            currentState = CHANGE_RX_STATE;
        else if (currentCommState == TX_STATE)
            currentState = CHANGE_TX_STATE;
    }
}

void nrf24_setup(void)
{
	// Add your NRF24L01 setup code here if needed
	  ce_high();

	  HAL_Delay(5);

	  ce_low();

	  nrf24_init();

	  nrf24_stop_listen();

	  nrf24_auto_ack_all(auto_ack);
	  nrf24_en_ack_pld(disable);
	  nrf24_dpl(disable);

	  nrf24_set_crc(no_crc, _1byte);

	  nrf24_tx_pwr(_0dbm);
	  nrf24_data_rate(_1mbps);
	  nrf24_set_channel(90);
	  nrf24_set_addr_width(5);

	  nrf24_set_rx_dpl(0, disable);
	  nrf24_set_rx_dpl(1, disable);
	  nrf24_set_rx_dpl(2, disable);
	  nrf24_set_rx_dpl(3, disable);
	  nrf24_set_rx_dpl(4, disable);
	  nrf24_set_rx_dpl(5, disable);

	  nrf24_pipe_pld_size(0, PLD_S);

	  nrf24_auto_retr_delay(4);
	  nrf24_auto_retr_limit(10);

	  nrf24_open_tx_pipe(tx_addr);
	  nrf24_open_rx_pipe(0, tx_addr);
	  ce_high();

}

static void formatAccelPrint(uint32_t timestamp, int32_t ax, int32_t ay, int32_t az)
{
    uint8_t uart_buf[PLD_S];
    uint32_t len = snprintf((char *)uart_buf, PLD_S, "%lu,%ld,%ld,%ld", timestamp, ax, ay, az);
    if (len > 0 && (len + 2) <= PLD_S)
    {
        uart_buf[len]     = '\r';
        uart_buf[len + 1] = '\n';
        HAL_UART_Transmit(&huart3, uart_buf, len + 2, HAL_MAX_DELAY);
    }
}

static void formatAccelPacket(uint32_t timestamp, int32_t ax, int32_t ay, int32_t az)
{
    memset(Transmit.cmd, 0, PLD_S);
    snprintf((char *)Transmit.cmd, PLD_S, "%lu,%ld,%ld,%ld", timestamp, ax, ay, az);
    Transmit.cmd[PLD_S - 2] = '\r';
    Transmit.cmd[PLD_S - 1] = '\n';
}

static void formatSensorPrint(uint32_t timestamp, uint16_t dist, int32_t ax, int32_t ay, int32_t az)
{
    uint8_t uart_buf[PLD_S];
    uint32_t len = snprintf((char *)uart_buf, PLD_S, "%lu,%u,%ld,%ld,%ld", timestamp, dist, ax, ay, az);
    if (len > 0 && (len + 2) <= PLD_S)
    {
        uart_buf[len]     = '\r';
        uart_buf[len + 1] = '\n';
        HAL_UART_Transmit(&huart3, uart_buf, len + 2, HAL_MAX_DELAY);
    }
}

static void formatSensorPacket(uint32_t timestamp, uint16_t dist, int32_t ax, int32_t ay, int32_t az)
{
    memset(Transmit.cmd, 0, PLD_S);
    snprintf((char *)Transmit.cmd, PLD_S, "%lu,%u,%ld,%ld,%ld", timestamp, dist, ax, ay, az);
    Transmit.cmd[PLD_S - 2] = '\r';
    Transmit.cmd[PLD_S - 1] = '\n';
}

/* USER CODE END 4 */

 /* MPU Configuration */

void MPU_Config(void)
{
  MPU_Region_InitTypeDef MPU_InitStruct = {0};

  /* Disables the MPU */
  HAL_MPU_Disable();

  /** Initializes and configures the Region and the memory to be protected
  */
  MPU_InitStruct.Enable = MPU_REGION_ENABLE;
  MPU_InitStruct.Number = MPU_REGION_NUMBER0;
  MPU_InitStruct.BaseAddress = 0x0;
  MPU_InitStruct.Size = MPU_REGION_SIZE_4GB;
  MPU_InitStruct.SubRegionDisable = 0x87;
  MPU_InitStruct.TypeExtField = MPU_TEX_LEVEL0;
  MPU_InitStruct.AccessPermission = MPU_REGION_NO_ACCESS;
  MPU_InitStruct.DisableExec = MPU_INSTRUCTION_ACCESS_DISABLE;
  MPU_InitStruct.IsShareable = MPU_ACCESS_SHAREABLE;
  MPU_InitStruct.IsCacheable = MPU_ACCESS_NOT_CACHEABLE;
  MPU_InitStruct.IsBufferable = MPU_ACCESS_NOT_BUFFERABLE;

  HAL_MPU_ConfigRegion(&MPU_InitStruct);
  /* Enables the MPU */
  HAL_MPU_Enable(MPU_PRIVILEGED_DEFAULT);

}

void Error_Handler(void)
{
  __disable_irq();
  while (1)
  {
  }
}
